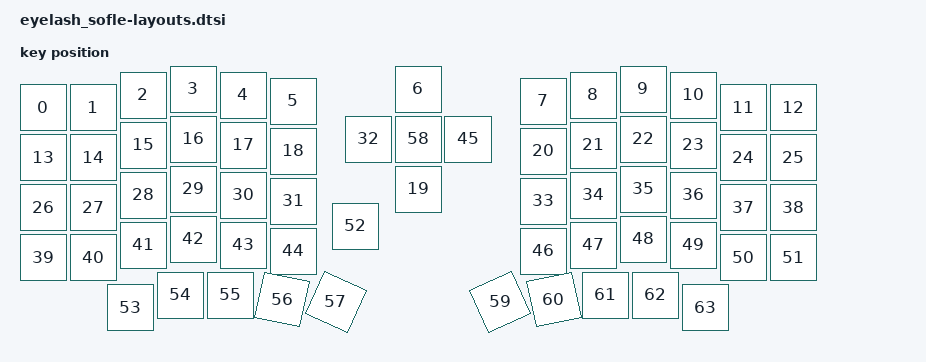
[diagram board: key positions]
/*
 * Physical layout of the Eyelash Sofle: the single source of truth.
 * config/eyelash_sofle.json is generated from this file by
 * scripts/layout-to-json.py (`mise run layout`); don't edit the JSON by hand.
 *
 * Copyright (c) 2026 Rodrigo Dlugokenski
 * SPDX-License-Identifier: MIT
 *
 * The 58 regular Sofle keys (the 6x4 grid and the 5-key thumb row on each
 * half) and the left encoder's position take their geometry from ZMK's Sofle
 * layout, app/dts/layouts/josefadamcik/sofle.dtsi, Copyright (c) 2020 The ZMK
 * Contributors, MIT. Changes from it:
 *   - the right half sits 1u further right, to make room for the joystick;
 *   - the inner thumb keys are 1u (ZMK draws them 1.5u), centred where ZMK
 *     centres them, with the same rotation origins;
 *   - the Eyelash's 5-way joystick (positions 6, 19, 32, 45, 58) is drawn as
 *     a cross between the halves, and the encoder press (position 52) at
 *     ZMK's left-encoder spot, 0.25u further right so it doesn't touch B.
 *
 * Key order is the keymap's 64-position order (default_transform in
 * eyelash_sofle.dtsi): rows 0-3 are 6 left keys, the joystick key of that
 * row (up, down, left, right), 6 right keys; row 4 is the encoder press, 5
 * left thumb-row keys, the joystick centre, 5 right thumb-row keys. Combos
 * and hold-trigger-key-positions depend on it.
 */

#include <physical_layouts.dtsi>

/ {
    eyelash_sofle_layout: eyelash_sofle_layout {
        compatible = "zmk,physical-layout";
        display-name = "Eyelash Sofle";
        transform = <&default_transform>;

        keys  //                     w   h    x    y     rot    rx    ry
            // row 0: 0-5 left, 6 joystick up, 7-12 right
            = <&key_physical_attrs 100 100    0   37       0     0     0>
            , <&key_physical_attrs 100 100  100   37       0     0     0>
            , <&key_physical_attrs 100 100  200   12       0     0     0>
            , <&key_physical_attrs 100 100  300    0       0     0     0>
            , <&key_physical_attrs 100 100  400   12       0     0     0>
            , <&key_physical_attrs 100 100  500   24       0     0     0>
            , <&key_physical_attrs 100 100  750    0       0     0     0>
            , <&key_physical_attrs 100 100 1000   24       0     0     0>
            , <&key_physical_attrs 100 100 1100   12       0     0     0>
            , <&key_physical_attrs 100 100 1200    0       0     0     0>
            , <&key_physical_attrs 100 100 1300   12       0     0     0>
            , <&key_physical_attrs 100 100 1400   37       0     0     0>
            , <&key_physical_attrs 100 100 1500   37       0     0     0>
            // row 1: 13-18 left, 19 joystick down, 20-25 right
            , <&key_physical_attrs 100 100    0  137       0     0     0>
            , <&key_physical_attrs 100 100  100  137       0     0     0>
            , <&key_physical_attrs 100 100  200  112       0     0     0>
            , <&key_physical_attrs 100 100  300  100       0     0     0>
            , <&key_physical_attrs 100 100  400  112       0     0     0>
            , <&key_physical_attrs 100 100  500  124       0     0     0>
            , <&key_physical_attrs 100 100  750  200       0     0     0>
            , <&key_physical_attrs 100 100 1000  124       0     0     0>
            , <&key_physical_attrs 100 100 1100  112       0     0     0>
            , <&key_physical_attrs 100 100 1200  100       0     0     0>
            , <&key_physical_attrs 100 100 1300  112       0     0     0>
            , <&key_physical_attrs 100 100 1400  137       0     0     0>
            , <&key_physical_attrs 100 100 1500  137       0     0     0>
            // row 2: 26-31 left, 32 joystick left, 33-38 right
            , <&key_physical_attrs 100 100    0  237       0     0     0>
            , <&key_physical_attrs 100 100  100  237       0     0     0>
            , <&key_physical_attrs 100 100  200  212       0     0     0>
            , <&key_physical_attrs 100 100  300  200       0     0     0>
            , <&key_physical_attrs 100 100  400  212       0     0     0>
            , <&key_physical_attrs 100 100  500  224       0     0     0>
            , <&key_physical_attrs 100 100  650  100       0     0     0>
            , <&key_physical_attrs 100 100 1000  224       0     0     0>
            , <&key_physical_attrs 100 100 1100  212       0     0     0>
            , <&key_physical_attrs 100 100 1200  200       0     0     0>
            , <&key_physical_attrs 100 100 1300  212       0     0     0>
            , <&key_physical_attrs 100 100 1400  237       0     0     0>
            , <&key_physical_attrs 100 100 1500  237       0     0     0>
            // row 3: 39-44 left, 45 joystick right, 46-51 right
            , <&key_physical_attrs 100 100    0  337       0     0     0>
            , <&key_physical_attrs 100 100  100  337       0     0     0>
            , <&key_physical_attrs 100 100  200  312       0     0     0>
            , <&key_physical_attrs 100 100  300  300       0     0     0>
            , <&key_physical_attrs 100 100  400  312       0     0     0>
            , <&key_physical_attrs 100 100  500  324       0     0     0>
            , <&key_physical_attrs 100 100  850  100       0     0     0>
            , <&key_physical_attrs 100 100 1000  324       0     0     0>
            , <&key_physical_attrs 100 100 1100  312       0     0     0>
            , <&key_physical_attrs 100 100 1200  300       0     0     0>
            , <&key_physical_attrs 100 100 1300  312       0     0     0>
            , <&key_physical_attrs 100 100 1400  337       0     0     0>
            , <&key_physical_attrs 100 100 1500  337       0     0     0>
            // row 4: 52 encoder press, 53-57 left thumb row,
            // 58 joystick centre, 59-63 right thumb row
            , <&key_physical_attrs 100 100  625  274       0     0     0>
            , <&key_physical_attrs 100 100  175  437       0     0     0>
            , <&key_physical_attrs 100 100  275  412       0     0     0>
            , <&key_physical_attrs 100 100  375  412       0     0     0>
            , <&key_physical_attrs 100 100  490  412    1200   490   412>
            , <&key_physical_attrs 100 100  600  408    2400   600   433>
            , <&key_physical_attrs 100 100  750  100       0     0     0>
            , <&key_physical_attrs 100 100  900  408 (-2400) 1000   433>
            , <&key_physical_attrs 100 100 1010  412 (-1200) 1110   412>
            , <&key_physical_attrs 100 100 1125  412       0     0     0>
            , <&key_physical_attrs 100 100 1225  412       0     0     0>
            , <&key_physical_attrs 100 100 1325  437       0     0     0>
            ;
    };
};
